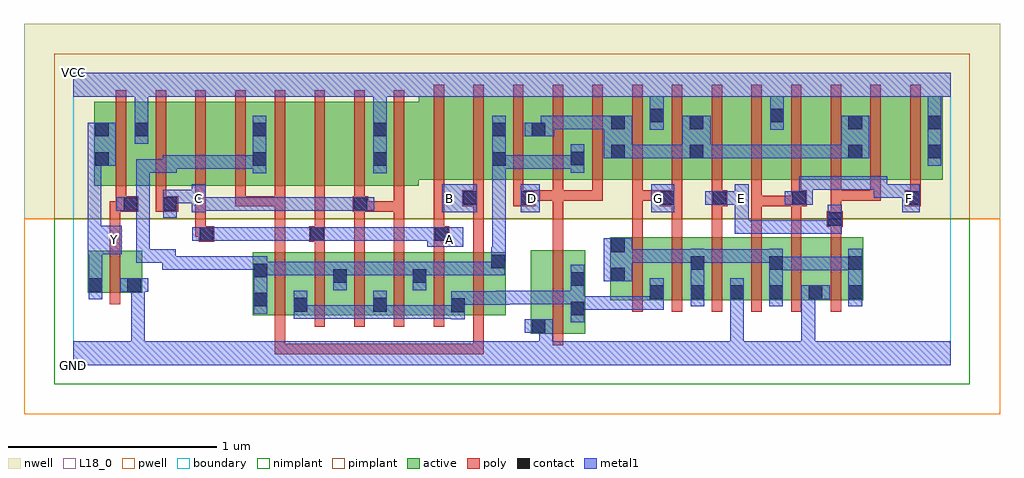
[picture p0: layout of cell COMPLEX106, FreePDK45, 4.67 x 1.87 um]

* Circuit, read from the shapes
.subckt COMPLEX106 A B C D E F G GND VCC Y
M1 GND n1 Y VSUBS nfet w=0.2u l=0.05u
M2 n2 B n1 VSUBS nfet w=0.3u l=0.05u m=2
M3 n1 A n2 VSUBS nfet w=0.3u l=0.05u m=2
M4 n2 C n1 VSUBS nfet w=0.3u l=0.05u m=2
M5 n2 D GND VSUBS nfet w=0.4u l=0.05u
M6 n2 G n3 VSUBS nfet w=0.3u l=0.05u m=2
M7 GND E n3 VSUBS nfet w=0.3u l=0.05u m=2
M8 n3 F GND VSUBS nfet w=0.3u l=0.05u m=2
M9 VCC n1 Y n4 pfet w=0.4u l=0.05u
M10 n5 C VCC n4 pfet w=0.4u l=0.05u
M11 n6 A n5 n4 pfet w=0.4u l=0.05u
M12 n1 B n6 n4 pfet w=0.4u l=0.05u
M13 n7 B n1 n4 pfet w=0.4u l=0.05u
M14 n8 A n7 n4 pfet w=0.4u l=0.05u
M15 VCC C n8 n4 pfet w=0.4u l=0.05u
M16 n9 C VCC n4 pfet w=0.4u l=0.05u
M17 n10 A n9 n4 pfet w=0.4u l=0.05u
M18 n1 B n10 n4 pfet w=0.4u l=0.05u
M19 n11 D n1 n4 pfet w=0.4u l=0.05u m=3
M20 VCC G n11 n4 pfet w=0.4u l=0.05u m=2
M21 n12 E n11 n4 pfet w=0.4u l=0.05u
M22 VCC F n12 n4 pfet w=0.4u l=0.05u
M23 n13 F VCC n4 pfet w=0.4u l=0.05u
M24 n11 E n13 n4 pfet w=0.4u l=0.05u
M25 n14 E n11 n4 pfet w=0.4u l=0.05u
M26 VCC F n14 n4 pfet w=0.4u l=0.05u
.ends

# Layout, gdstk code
import gdstk
lib = gdstk.Library(unit=1e-6, precision=1e-09)
def R(c, l, rs):  # rectangles x0, y0, x1, y1
    for r in rs: c.add(gdstk.rectangle(r[:2], r[2:], *l))
def A(c, l, x, y, w, h, nx, ny, dx, dy):  # array of equal rectangles
    R(c, l, [(x+i*dx, y+j*dy, x+i*dx+w, y+j*dy+h) for i in range(nx) for j in range(ny)])
active = (1, 0)
pwell = (2, 0)
nwell = (3, 0)
nimplant = (4, 0)
pimplant = (5, 0)
poly = (9, 0)
contact = (10, 0)
metal1 = (11, 0)
L18_0 = (18, 0)
boundary = (235, 0)

complex106 = lib.new_cell('COMPLEX106')
A(complex106, active, 0.86, 0.24, 0.265, 0.3, 4, 1, 0.19, 0)
R(complex106, active, [(2.19,0.15,2.45,0.55), (2.19,0.15,2.265,0.492), (2.375,0.2,2.45,0.55), (0.86,0.24,0.935,0.54), (1.05,0.24,1.125,0.54), (1.43,0.24,1.505,0.517), (1.62,0.24,1.88,0.54), (1.805,0.24,2.07,0.54), (1.805,0.24,1.88,0.437), (2.57,0.312,2.83,0.612), (2.755,0.312,3.025,0.612), (2.755,0.312,2.83,0.545), (2.95,0.312,3.215,0.612), (2.95,0.312,3.025,0.562), (3.14,0.312,3.4,0.612), (3.14,0.312,3.215,0.577), (3.325,0.312,3.59,0.612), (3.325,0.312,3.4,0.535), (3.515,0.312,3.78,0.612), (3.515,0.312,3.59,0.395), (3.705,0.312,3.78,0.612), (1.24,0.33,1.315,0.517), (1.62,0.33,1.695,0.517), (1.995,0.33,2.07,0.54), (2.57,0.33,2.645,0.612), (0.07,0.347,0.145,0.547), (0.07,0.347,0.33,0.547), (0.255,0.347,0.33,0.547), (0.1,0.86,0.365,1.26), (0.1,0.86,0.175,1.2), (0.29,0.86,0.515,1.26), (0.515,0.86,0.705,1.26), (0.705,0.86,0.93,1.26), (0.855,0.86,1.085,1.26), (0.855,0.86,0.93,1.2), (1.085,0.86,1.275,1.26), (1.275,0.86,1.505,1.26), (1.43,0.86,1.505,1.26), (1.43,0.86,1.655,1.26), (0.29,0.887,0.365,1.26), (1.655,0.887,1.845,1.287), (1.845,0.887,2.075,1.287), (2,0.887,2.265,1.287), (2,0.887,2.075,1.165), (2.19,0.887,2.45,1.287), (2.19,0.887,2.265,1.165), (2.375,0.887,2.645,1.287), (2.375,0.887,2.45,1.07), (2.57,0.887,2.83,1.287), (2.57,0.887,2.645,1.2), (2.755,0.887,3.02,1.287), (2.945,0.887,3.175,1.287), (2.945,0.887,3.02,1.2), (3.175,0.887,3.405,1.287), (3.33,0.887,3.405,1.287), (3.33,0.887,3.555,1.287), (3.555,0.887,3.78,1.287), (3.705,0.887,3.935,1.287), (3.705,0.887,3.78,1.2), (3.935,0.887,4.16,1.287), (4.085,0.887,4.16,1.287), (2.755,0.907,2.83,1.287)])
R(complex106, pwell, [(-0.235,-0.235,4.435,0.7)])
R(complex106, nwell, [(-0.235,0.7,4.435,1.635)])
R(complex106, nimplant, [(-0.09,-0.09,4.29,0.7)])
R(complex106, pimplant, [(-0.09,0.7,4.29,1.49)])
A(complex106, poly, 0.965, 0.185, 0.05, 0.41, 6, 1, 0.19, 0)
A(complex106, poly, 2.675, 0.257, 0.05, 0.41, 6, 1, 0.19, 0)
A(complex106, poly, 2.865, 0.617, 0.05, 0.195, 4, 1, 0.19, 0)
A(complex106, poly, 1.915, 0.787, 0.05, 0.095, 7, 1, 0.19, 0)
A(complex106, poly, 2.295, 0.787, 0.05, 0.05, 3, 1, 0.19, 0)
A(complex106, poly, 3.435, 0.787, 0.05, 0.095, 4, 1, 0.19, 0)
A(complex106, poly, 0.205, 0.805, 0.05, 0.51, 8, 1, 0.19, 0)
A(complex106, poly, 1.725, 0.832, 0.05, 0.51, 13, 1, 0.19, 0)
R(complex106, poly, [(0.965,0.052,1.015,0.102), (0.965,0.052,1.015,0.102), (0.965,0.052,1.015,0.102), (0.965,0.052,1.147,0.102), (0.965,0.052,1.015,0.235), (1.097,0.052,1.147,0.102), (1.097,0.052,1.147,0.102), (1.097,0.052,1.147,0.102), (1.097,0.052,1.337,0.102), (1.287,0.052,1.337,0.102), (1.287,0.052,1.642,0.102), (1.592,0.052,1.642,0.102), (1.592,0.052,1.642,0.102), (1.592,0.052,1.642,0.102), (1.592,0.052,1.78,0.102), (1.73,0.052,1.78,0.102), (1.73,0.052,1.78,0.102), (1.73,0.052,1.78,0.102), (1.73,0.052,1.965,0.102), (1.915,0.052,1.965,0.102), (1.915,0.052,1.965,0.102), (1.915,0.052,1.965,0.102), (1.915,0.052,1.965,0.235), (2.295,0.095,2.345,0.605), (0.175,0.292,0.225,0.602), (0.965,0.545,1.015,0.81), (1.155,0.545,1.205,0.64), (1.345,0.545,1.395,0.785), (1.535,0.545,1.585,0.785), (1.725,0.545,1.775,0.64), (1.915,0.545,1.965,0.812), (0.175,0.552,0.225,0.785), (2.295,0.555,2.345,0.837), (0.6,0.59,0.675,0.665), (1.13,0.59,1.205,0.665), (1.725,0.59,1.8,0.665), (0.585,0.615,0.635,0.855), (0.585,0.615,0.65,0.665), (0.6,0.615,0.65,0.665), (1.155,0.615,1.205,0.665), (1.155,0.615,1.205,0.665), (1.155,0.615,1.205,0.855), (1.725,0.615,1.775,0.665), (1.725,0.615,1.775,0.665), (1.725,0.615,1.775,0.882), (2.675,0.617,2.725,0.837), (3.625,0.617,3.675,0.712), (3.607,0.662,3.682,0.737), (3.625,0.687,3.675,0.837), (0.175,0.735,0.255,0.785), (0.205,0.735,0.255,0.785), (0.205,0.735,0.312,0.81), (0.395,0.735,0.502,0.81), (1.337,0.735,1.412,0.81), (1.345,0.735,1.395,0.785), (1.345,0.735,1.395,0.785), (1.345,0.735,1.395,0.785), (1.345,0.735,1.395,0.785), (1.345,0.735,1.585,0.785), (1.535,0.735,1.585,0.785), (1.535,0.735,1.585,0.785), (1.535,0.735,1.585,0.785), (1.535,0.735,1.585,0.855), (0.205,0.76,0.255,0.855), (0.395,0.76,0.445,0.855), (0.775,0.76,0.825,0.855), (0.775,0.76,0.825,0.81), (0.775,0.76,0.825,0.81), (0.775,0.76,0.825,0.81), (0.775,0.76,1.015,0.81), (0.965,0.76,1.015,0.855), (0.965,0.76,1.015,0.81), (0.965,0.76,1.015,0.81), (0.965,0.76,1.015,0.81), (1.345,0.76,1.395,0.855), (1.862,0.762,1.965,0.837), (1.915,0.762,1.965,0.812), (1.915,0.762,1.965,0.812), (2.105,0.762,2.212,0.837), (2.807,0.762,2.915,0.837), (2.865,0.762,2.915,0.812), (2.865,0.762,2.915,0.812), (3.055,0.762,3.13,0.837), (3.245,0.762,3.295,0.812), (3.245,0.762,3.295,0.812), (3.245,0.762,3.295,0.812), (3.245,0.762,3.295,0.812), (3.245,0.762,3.295,0.812), (3.245,0.762,3.485,0.812), (3.245,0.762,3.295,0.882), (3.435,0.762,3.51,0.837), (3.435,0.762,3.485,0.812), (3.435,0.762,3.485,0.812), (3.98,0.762,4.055,0.837), (2.162,0.787,2.212,0.837), (2.162,0.787,2.212,0.837), (2.162,0.787,2.345,0.837), (2.295,0.787,2.345,0.837), (2.295,0.787,2.345,0.837), (2.295,0.787,2.345,0.837), (2.295,0.787,2.345,0.837), (2.295,0.787,2.535,0.837), (2.675,0.787,2.725,0.837), (2.675,0.787,2.725,0.837), (2.675,0.787,2.725,0.837), (2.675,0.787,2.725,0.837), (2.675,0.787,2.857,0.837), (3.055,0.787,3.105,0.837), (3.055,0.787,3.105,0.837), (3.625,0.787,3.675,0.837), (3.625,0.787,3.865,0.837), (3.815,0.787,3.865,0.837), (3.815,0.787,3.865,0.837), (3.815,0.787,3.865,0.837)])
A(complex106, contact, 3.33, 0.317, 0.065, 0.065, 3, 1, 0.19, 0)
R(complex106, contact, [(2.195,0.155,2.26,0.22), (2.38,0.24,2.445,0.305), (1.81,0.255,1.875,0.32), (1.055,0.257,1.12,0.322), (1.435,0.257,1.5,0.322), (0.865,0.282,0.93,0.347), (2.76,0.317,2.825,0.382), (2.955,0.317,3.02,0.382), (3.145,0.317,3.21,0.382), (0.075,0.352,0.14,0.417), (0.26,0.352,0.325,0.417), (2.38,0.38,2.445,0.445), (1.245,0.395,1.31,0.46), (1.625,0.395,1.69,0.46), (2.575,0.402,2.64,0.467), (0.865,0.422,0.93,0.487), (2.955,0.457,3.02,0.522), (3.33,0.457,3.395,0.522), (3.71,0.457,3.775,0.522), (2,0.465,2.065,0.53), (2.575,0.542,2.64,0.607), (0.605,0.595,0.67,0.66), (1.135,0.595,1.2,0.66), (1.73,0.595,1.795,0.66), (3.612,0.667,3.677,0.732), (0.242,0.74,0.307,0.805), (0.432,0.74,0.497,0.805), (1.342,0.74,1.407,0.805), (1.867,0.767,1.932,0.832), (2.142,0.767,2.207,0.832), (2.812,0.767,2.877,0.832), (3.06,0.767,3.125,0.832), (3.44,0.767,3.505,0.832), (3.985,0.767,4.05,0.832), (0.105,0.955,0.17,1.02), (0.86,0.955,0.925,1.02), (1.435,0.955,1.5,1.02), (2.005,0.955,2.07,1.02), (2.38,0.957,2.445,1.022), (2.575,0.99,2.64,1.055), (2.95,0.99,3.015,1.055), (3.71,0.99,3.775,1.055), (4.09,0.99,4.155,1.055), (0.105,1.095,0.17,1.16), (0.295,1.095,0.36,1.16), (0.86,1.095,0.925,1.16), (1.435,1.095,1.5,1.16), (2.005,1.095,2.07,1.16), (2.195,1.095,2.26,1.16), (2.575,1.13,2.64,1.195), (2.95,1.13,3.015,1.195), (3.71,1.13,3.775,1.195), (4.09,1.13,4.155,1.195), (2.76,1.162,2.825,1.227), (3.335,1.162,3.4,1.227)])
R(complex106, metal1, [(0,0,4.2,0.115), (0.277,0.05,0.342,0.115), (0.277,0.05,0.342,0.115), (0.277,0.05,0.342,0.115), (0.277,0.05,0.342,0.115), (0.277,0.05,0.342,0.417), (2.23,0.05,2.295,0.22), (3.145,0.05,3.21,0.347), (3.485,0.05,3.55,0.115), (3.485,0.05,3.55,0.115), (3.485,0.05,3.55,0.382), (2.16,0.155,2.295,0.22), (2.38,0.205,2.445,0.48), (1.81,0.22,1.875,0.355), (1.055,0.222,1.12,0.287), (1.055,0.222,1.12,0.287), (1.055,0.222,1.12,0.357), (1.055,0.222,1.31,0.287), (1.245,0.222,1.31,0.287), (1.245,0.222,1.41,0.287), (1.345,0.222,1.41,0.287), (1.345,0.222,1.5,0.287), (1.435,0.222,1.5,0.357), (1.435,0.222,1.547,0.287), (1.482,0.222,1.547,0.287), (1.482,0.222,1.695,0.287), (1.63,0.222,1.695,0.287), (1.63,0.222,1.695,0.287), (1.63,0.222,1.695,0.287), (1.63,0.222,1.875,0.287), (0.865,0.247,0.93,0.522), (2.38,0.265,2.582,0.33), (2.38,0.265,2.445,0.33), (2.38,0.265,2.445,0.33), (2.517,0.265,2.582,0.33), (2.517,0.265,2.582,0.33), (2.517,0.265,2.582,0.33), (2.517,0.265,2.825,0.33), (2.76,0.265,2.825,0.417), (2.955,0.282,3.02,0.557), (3.145,0.282,3.21,0.347), (3.145,0.282,3.21,0.347), (3.145,0.282,3.21,0.417), (3.33,0.282,3.395,0.557), (3.71,0.282,3.775,0.557), (1.81,0.29,1.875,0.355), (1.81,0.29,1.875,0.355), (1.81,0.29,2.087,0.355), (2.022,0.29,2.087,0.355), (2.022,0.29,2.087,0.355), (2.022,0.29,2.087,0.357), (2.022,0.292,2.307,0.357), (2.242,0.292,2.307,0.357), (2.242,0.292,2.307,0.357), (2.242,0.292,2.307,0.357), (2.242,0.292,2.445,0.357), (0.075,0.317,0.14,0.452), (3.485,0.317,3.62,0.382), (0.225,0.352,0.36,0.417), (1.245,0.36,1.31,0.495), (1.625,0.36,1.69,0.495), (0.075,0.387,0.14,0.597), (2.54,0.402,2.675,0.607), (0.865,0.43,0.98,0.495), (0.915,0.43,0.98,0.495), (0.915,0.43,1.12,0.495), (1.055,0.43,1.12,0.495), (1.055,0.43,1.12,0.495), (1.055,0.43,1.12,0.495), (1.055,0.43,1.31,0.495), (1.245,0.43,1.372,0.495), (1.307,0.43,1.372,0.495), (1.307,0.43,1.547,0.495), (1.482,0.43,1.547,0.495), (1.482,0.43,1.547,0.495), (1.482,0.43,1.547,0.495), (1.482,0.43,1.69,0.495), (1.625,0.43,1.69,0.495), (1.625,0.43,1.69,0.495), (1.625,0.43,1.927,0.495), (1.862,0.43,1.927,0.495), (1.862,0.43,1.927,0.495), (1.862,0.43,1.927,0.495), (1.862,0.43,2.065,0.495), (2,0.43,2.065,0.565), (3.33,0.455,3.532,0.52), (3.467,0.455,3.532,0.52), (3.467,0.455,3.532,0.52), (3.467,0.455,3.532,0.52), (3.467,0.455,3.677,0.52), (3.612,0.455,3.677,0.52), (3.612,0.455,3.775,0.52), (0.427,0.457,0.65,0.522), (0.427,0.457,0.492,0.555), (0.585,0.457,0.787,0.522), (0.585,0.457,0.65,0.522), (0.585,0.457,0.65,0.522), (0.585,0.457,0.65,0.522), (0.722,0.457,0.787,0.522), (0.722,0.457,0.842,0.522), (0.777,0.457,0.842,0.522), (0.777,0.457,0.93,0.522), (0.302,0.49,0.367,0.805), (0.302,0.49,0.37,0.555), (0.305,0.49,0.37,0.555), (0.305,0.49,0.37,0.555), (0.305,0.49,0.492,0.555), (2.61,0.49,2.812,0.555), (2.61,0.49,2.675,0.555), (2.61,0.49,2.675,0.555), (2.747,0.49,2.812,0.555), (2.747,0.49,2.812,0.555), (2.747,0.49,2.812,0.555), (2.747,0.49,3.02,0.555), (2.955,0.49,3.02,0.555), (2.955,0.49,3.02,0.555), (2.955,0.49,3.195,0.555), (3.13,0.49,3.195,0.555), (3.13,0.49,3.297,0.555), (3.232,0.49,3.297,0.555), (3.232,0.49,3.395,0.555), (2,0.5,2.065,0.565), (2,0.5,2.07,0.565), (2.005,0.5,2.07,0.985), (0.07,0.532,0.232,0.667), (1.695,0.567,1.867,0.66), (0.57,0.595,0.705,0.66), (0.64,0.595,0.787,0.66), (0.722,0.595,0.787,0.66), (0.722,0.595,0.842,0.66), (0.777,0.595,0.842,0.66), (0.777,0.595,0.982,0.66), (0.917,0.595,0.982,0.66), (0.917,0.595,0.982,0.66), (0.917,0.595,0.982,0.66), (0.917,0.595,1.165,0.66), (1.1,0.595,1.165,0.66), (1.1,0.595,1.165,0.66), (1.1,0.595,1.235,0.66), (1.17,0.595,1.31,0.66), (1.245,0.595,1.31,0.66), (1.245,0.595,1.41,0.66), (1.345,0.595,1.547,0.66), (1.345,0.595,1.41,0.66), (1.482,0.595,1.547,0.66), (1.482,0.595,1.547,0.66), (1.482,0.595,1.547,0.66), (1.482,0.595,1.685,0.66), (1.62,0.595,1.685,0.66), (1.62,0.595,1.76,0.66), (0.07,0.602,0.135,1.02), (3.167,0.63,3.332,0.695), (3.167,0.63,3.232,0.867), (3.267,0.63,3.332,0.695), (3.267,0.63,3.395,0.695), (3.33,0.63,3.395,0.695), (3.33,0.63,3.54,0.695), (3.475,0.63,3.677,0.695), (3.475,0.63,3.54,0.695), (3.475,0.63,3.54,0.695), (3.475,0.63,3.54,0.695), (3.612,0.63,3.677,0.767), (0.432,0.705,0.497,0.84), (0.567,0.732,0.635,0.867), (1.767,0.732,1.932,0.867), (2.142,0.732,2.232,0.867), (2.767,0.732,2.877,0.867), (3.967,0.732,4.05,0.867), (0.207,0.74,0.342,0.805), (0.277,0.74,0.367,0.805), (0.302,0.74,0.367,0.805), (0.302,0.74,0.367,0.987), (0.57,0.74,0.635,0.805), (0.57,0.74,0.635,0.805), (0.57,0.74,0.787,0.805), (0.722,0.74,0.787,0.805), (0.722,0.74,0.842,0.805), (0.777,0.74,0.842,0.805), (0.777,0.74,0.98,0.805), (0.915,0.74,0.98,0.805), (0.915,0.74,0.98,0.805), (0.915,0.74,0.98,0.805), (0.915,0.74,1.172,0.805), (1.107,0.74,1.172,0.805), (1.107,0.74,1.172,0.805), (1.107,0.74,1.172,0.805), (1.107,0.74,1.362,0.805), (1.297,0.74,1.362,0.805), (1.297,0.74,1.372,0.805), (1.307,0.74,1.442,0.805), (3.025,0.767,3.16,0.832), (3.095,0.767,3.232,0.832), (3.405,0.767,3.54,0.832), (3.475,0.767,3.54,0.832), (3.475,0.767,3.54,0.905), (0.432,0.775,0.632,0.84), (3.83,0.802,4.032,0.867), (3.83,0.802,3.895,0.867), (3.83,0.802,3.895,0.867), (3.83,0.802,3.895,0.905), (3.475,0.84,3.677,0.905), (3.612,0.84,3.677,0.905), (3.612,0.84,3.677,0.905), (3.612,0.84,3.677,0.905), (3.612,0.84,3.895,0.905), (0.86,0.92,0.925,1.195), (1.435,0.92,1.5,1.195), (2.005,0.92,2.07,1.195), (2.005,0.92,2.07,0.985), (2.005,0.92,2.07,0.985), (0.302,0.922,0.367,0.987), (0.302,0.922,0.495,0.987), (0.43,0.922,0.495,1.005), (2.38,0.922,2.445,1.057), (0.43,0.94,0.65,1.005), (0.585,0.94,0.787,1.005), (0.585,0.94,0.65,1.005), (0.585,0.94,0.65,1.005), (0.585,0.94,0.65,1.005), (0.722,0.94,0.787,1.005), (0.722,0.94,0.842,1.005), (0.777,0.94,0.842,1.005), (0.777,0.94,0.925,1.005), (2.005,0.94,2.07,1.005), (2.005,0.94,2.07,1.005), (2.005,0.94,2.302,1.005), (2.237,0.94,2.302,1.005), (2.237,0.94,2.302,1.005), (2.237,0.94,2.302,1.005), (2.237,0.94,2.445,1.005), (0.07,0.955,0.135,1.02), (0.07,0.955,0.135,1.02), (0.07,0.955,0.205,1.16), (4.09,0.955,4.155,1.23), (2.54,0.99,2.675,1.195), (2.61,0.99,2.812,1.055), (2.61,0.99,2.675,1.055), (2.61,0.99,2.675,1.055), (2.747,0.99,2.812,1.055), (2.747,0.99,2.812,1.055), (2.747,0.99,2.812,1.055), (2.747,0.99,2.98,1.055), (2.915,0.99,3.05,1.195), (2.985,0.99,3.187,1.055), (2.985,0.99,3.05,1.055), (2.985,0.99,3.05,1.055), (3.122,0.99,3.187,1.055), (3.122,0.99,3.297,1.055), (3.232,0.99,3.297,1.055), (3.232,0.99,3.37,1.055), (3.305,0.99,3.37,1.055), (3.305,0.99,3.54,1.055), (3.475,0.99,3.54,1.055), (3.475,0.99,3.54,1.055), (3.475,0.99,3.54,1.055), (3.475,0.99,3.74,1.055), (3.675,0.99,3.74,1.055), (3.675,0.99,3.74,1.055), (3.675,0.99,3.81,1.195), (0.295,1.06,0.36,1.195), (2.16,1.095,2.295,1.16), (2.23,1.095,2.302,1.16), (2.237,1.095,2.302,1.195), (2.76,1.127,2.825,1.262), (3.335,1.127,3.4,1.262), (0.295,1.13,0.36,1.35), (1.435,1.13,1.5,1.35), (2.237,1.13,2.445,1.195), (2.38,1.13,2.445,1.195), (2.38,1.13,2.445,1.195), (2.38,1.13,2.445,1.195), (2.38,1.13,2.605,1.195), (4.09,1.165,4.155,1.35), (2.76,1.197,2.825,1.35), (3.335,1.197,3.4,1.35), (0,1.285,4.2,1.4)])
R(complex106, L18_0, [(0,0,4.2,0.115), (0.277,0.05,0.342,0.115), (0.277,0.05,0.342,0.115), (0.277,0.05,0.342,0.115), (0.277,0.05,0.342,0.115), (0.277,0.05,0.342,0.417), (2.23,0.05,2.295,0.22), (3.145,0.05,3.21,0.347), (3.485,0.05,3.55,0.115), (3.485,0.05,3.55,0.115), (3.485,0.05,3.55,0.382), (2.16,0.155,2.295,0.22), (3.145,0.282,3.21,0.417), (3.145,0.282,3.21,0.347), (3.145,0.282,3.21,0.347), (0.075,0.317,0.14,0.452), (3.485,0.317,3.62,0.382), (0.225,0.352,0.36,0.417), (0.075,0.387,0.14,0.597), (0.07,0.532,0.232,0.667), (0.167,0.567,0.232,0.632), (1.695,0.567,1.867,0.66), (1.767,0.567,1.832,0.632), (0.57,0.595,0.705,0.66), (0.64,0.595,0.787,0.66), (0.722,0.595,0.787,0.66), (0.722,0.595,0.842,0.66), (0.777,0.595,0.842,0.66), (0.777,0.595,0.982,0.66), (0.917,0.595,0.982,0.66), (0.917,0.595,0.982,0.66), (0.917,0.595,0.982,0.66), (0.917,0.595,1.165,0.66), (1.1,0.595,1.165,0.66), (1.1,0.595,1.165,0.66), (1.1,0.595,1.235,0.66), (1.17,0.595,1.31,0.66), (1.245,0.595,1.31,0.66), (1.245,0.595,1.41,0.66), (1.345,0.595,1.41,0.66), (1.345,0.595,1.547,0.66), (1.482,0.595,1.547,0.66), (1.482,0.595,1.547,0.66), (1.482,0.595,1.547,0.66), (1.482,0.595,1.685,0.66), (1.62,0.595,1.685,0.66), (1.62,0.595,1.76,0.66), (0.07,0.602,0.135,1.02), (3.167,0.63,3.332,0.695), (3.167,0.63,3.232,0.867), (3.267,0.63,3.332,0.695), (3.267,0.63,3.395,0.695), (3.33,0.63,3.395,0.695), (3.33,0.63,3.54,0.695), (3.475,0.63,3.54,0.695), (3.475,0.63,3.54,0.695), (3.475,0.63,3.54,0.695), (3.475,0.63,3.677,0.695), (3.612,0.63,3.677,0.767), (0.432,0.705,0.497,0.84), (0.567,0.732,0.635,0.867), (1.767,0.732,1.932,0.867), (2.142,0.732,2.232,0.867), (2.767,0.732,2.877,0.867), (3.967,0.732,4.05,0.867), (0.57,0.74,0.635,0.805), (0.57,0.74,0.635,0.805), (0.57,0.74,0.787,0.805), (0.722,0.74,0.787,0.805), (0.722,0.74,0.842,0.805), (0.777,0.74,0.842,0.805), (0.777,0.74,0.98,0.805), (0.915,0.74,0.98,0.805), (0.915,0.74,0.98,0.805), (0.915,0.74,0.98,0.805), (0.915,0.74,1.172,0.805), (1.107,0.74,1.172,0.805), (1.107,0.74,1.172,0.805), (1.107,0.74,1.172,0.805), (1.107,0.74,1.362,0.805), (1.297,0.74,1.362,0.805), (1.297,0.74,1.372,0.805), (1.307,0.74,1.442,0.805), (0.567,0.767,0.632,0.832), (1.767,0.767,1.832,0.832), (2.167,0.767,2.232,0.832), (2.767,0.767,2.832,0.832), (3.025,0.767,3.16,0.832), (3.095,0.767,3.232,0.832), (3.167,0.767,3.232,0.832), (3.405,0.767,3.54,0.832), (3.475,0.767,3.54,0.832), (3.475,0.767,3.54,0.905), (3.967,0.767,4.032,0.832), (0.432,0.775,0.632,0.84), (3.83,0.802,3.895,0.867), (3.83,0.802,3.895,0.867), (3.83,0.802,4.032,0.867), (3.83,0.802,3.895,0.905), (3.475,0.84,3.677,0.905), (3.612,0.84,3.677,0.905), (3.612,0.84,3.677,0.905), (3.612,0.84,3.677,0.905), (3.612,0.84,3.895,0.905), (1.435,0.92,1.5,1.195), (0.07,0.955,0.135,1.02), (0.07,0.955,0.135,1.02), (0.07,0.955,0.205,1.16), (4.09,0.955,4.155,1.23), (0.295,1.06,0.36,1.195), (2.76,1.127,2.825,1.262), (3.335,1.127,3.4,1.262), (0.295,1.13,0.36,1.35), (1.435,1.13,1.5,1.35), (4.09,1.165,4.155,1.35), (2.76,1.197,2.825,1.35), (3.335,1.197,3.4,1.35), (0,1.285,4.2,1.4)])
R(complex106, boundary, [(0,0,4.2,1.4)])
complex106.add(gdstk.Label('A', (1.8,0.6), layer=11, texttype=0))
complex106.add(gdstk.Label('B', (1.8,0.8), layer=11, texttype=0))
complex106.add(gdstk.Label('C', (0.6,0.8), layer=11, texttype=0))
complex106.add(gdstk.Label('D', (2.2,0.8), layer=11, texttype=0))
complex106.add(gdstk.Label('E', (3.2,0.8), layer=11, texttype=0))
complex106.add(gdstk.Label('F', (4,0.8), layer=11, texttype=0))
complex106.add(gdstk.Label('G', (2.8,0.8), layer=11, texttype=0))
complex106.add(gdstk.Label('Y', (0.2,0.6), layer=11, texttype=0))
complex106.add(gdstk.Label('VCC', (0,1.4), layer=11, texttype=0))
complex106.add(gdstk.Label('GND', (0,0), layer=11, texttype=0))

lib.write_gds('COMPLEX106.gds')
